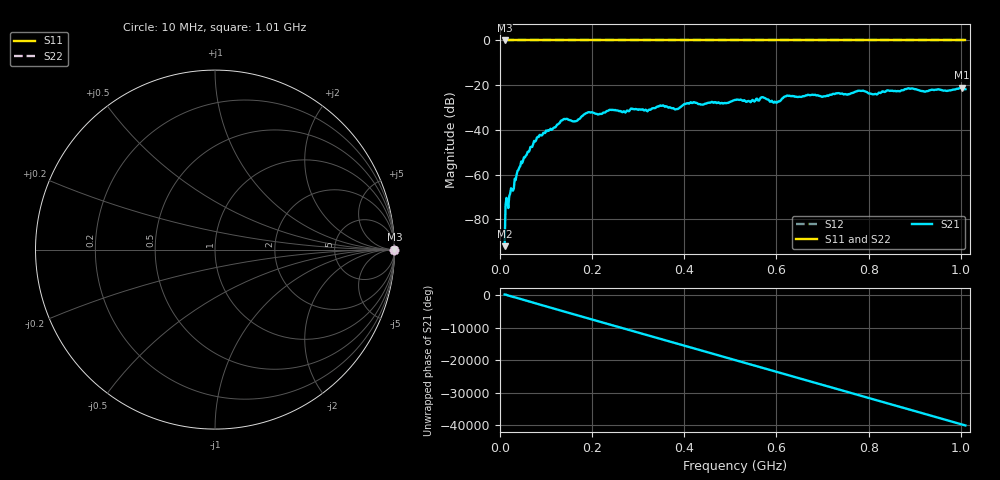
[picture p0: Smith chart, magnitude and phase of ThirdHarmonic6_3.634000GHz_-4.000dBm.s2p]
! 8/17/2025 12:11:37 PM
! C:\ANRITSUVNA\TEMP\TEMP.S2P
! CHANNEL.1
! TR.MEASUREMENT
! RAW.DATA
! RF.CORRECTION.OFF
! AVERAGING.OFF
! IF.BANDWIDTH: 5KHZ
! SWEEPTYPE:  FREQ.SWEEP(Linear)
! Reference Plane Port Info
! PORT:  PORT1  PORT2
! DISTANCE:  0  m  0  m
! TIME:  0  s  0  s
! PHASE.OFFSET:  0  deg.  0  deg.
! LOSS:  0  dB  0  dB
! REF.LOSS:  0  dB  0  dB
! REF.FREQ:  0  Hz  0  Hz
! Power Info
! POWER:  -20  dBm  -20  dBm
! EFF.POWER:  -20  dBm  -20  dBm
! SOURCE.ATTEN:  0  dB  0  dB
! TEST.ATTEN:  0  dB  0  dB
# GHZ S RI R 50.0
! FREQ.GHZ  S11RE  S11IM  S21RE  S21IM  S12RE  S12IM  S22RE  S22IM
!; PortSelection: Port_12
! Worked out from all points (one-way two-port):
!   501 points, 10 MHz to 1.01 GHz, reference 50 ohm
!   highest |S21| = -21.15 dB at 1.002 GHz (marker M1); lowest = -92.0 dB at 10 MHz (marker M2)
!   lowest |S11| = 0.0 dB at 10 MHz (marker M3)
!   |S11| at or under -10 dB: nowhere
!   |S22| runs from 0.0 to 0.0 dB; largest |S21 - S12| = 1.1
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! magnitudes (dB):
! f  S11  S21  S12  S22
! 10 MHz  0.0  -92.0  0.0  0.0
! 42 MHz  0.0  -56.8  0.0  0.0
! 78 MHz  0.0  -44.8  0.0  0.0
! 136 MHz  0.0  -35.6  0.0  0.0
! 164 MHz  0.0  -36.1  0.0  0.0
! 178 MHz  0.0  -33.8  0.0  0.0
! 194 MHz  0.0  -32.1  0.0  0.0
! 322 MHz  0.0  -31.2  0.0  0.0
! 344 MHz  0.0  -29.6  0.0  0.0
! 382 MHz  0.0  -30.7  0.0  0.0
! 410 MHz  0.0  -28.3  0.0  0.0
! 510 MHz  0.0  -26.6  0.0  0.0
! 540 MHz  0.0  -27.0  0.0  0.0
! 570 MHz  0.0  -25.3  0.0  0.0
! 598 MHz  0.0  -27.6  0.0  0.0
! 622 MHz  0.0  -24.7  0.0  0.0
! 678 MHz  0.0  -24.3  0.0  0.0
! 782 MHz  0.0  -22.5  0.0  0.0
! 814 MHz  0.0  -23.9  0.0  0.0
! 844 MHz  0.0  -22.4  0.0  0.0
! 1.002 GHz  0.0  -21.2  0.0  0.0
! 1.01 GHz  0.0  -21.8  0.0  0.0
